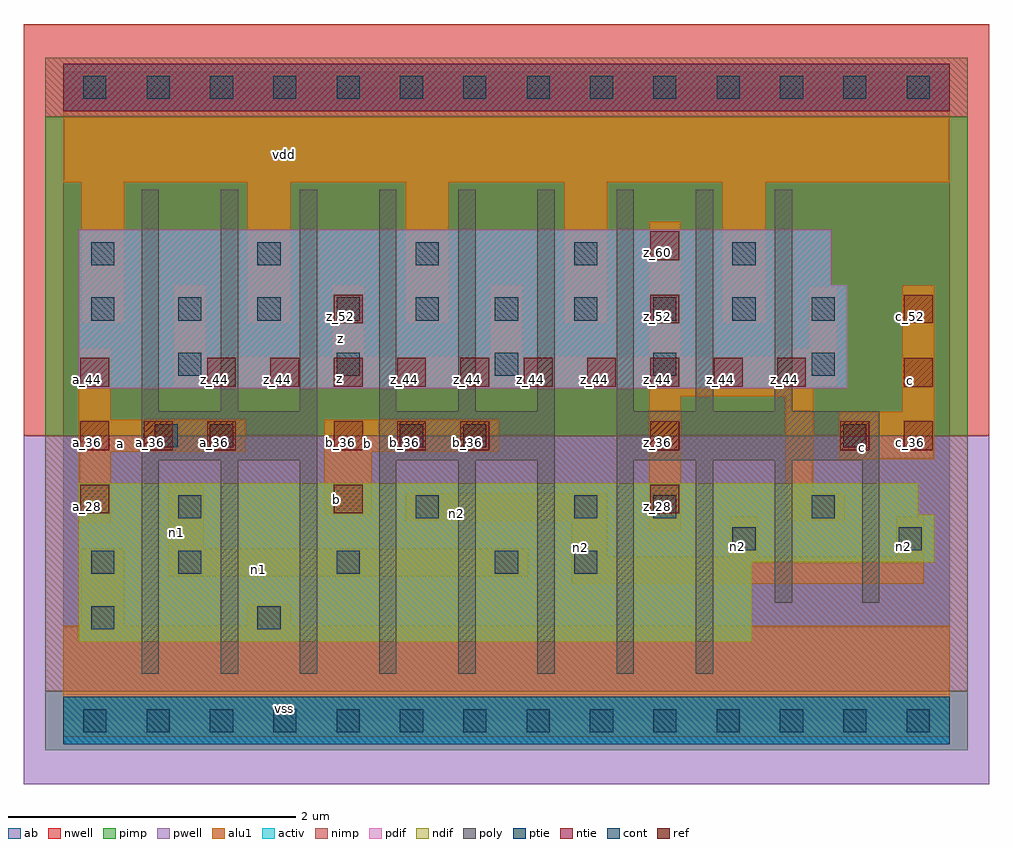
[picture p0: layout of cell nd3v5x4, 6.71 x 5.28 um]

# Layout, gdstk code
import gdstk
lib = gdstk.Library(unit=1e-6, precision=2.5e-09)
def R(c, l, rs):  # rectangles x0, y0, x1, y1
    for r in rs: c.add(gdstk.rectangle(r[:2], r[2:], *l))
def A(c, l, x, y, w, h, nx, ny, dx, dy):  # array of equal rectangles
    R(c, l, [(x+i*dx, y+j*dy, x+i*dx+w, y+j*dy+h) for i in range(nx) for j in range(ny)])
ndif = (3, 0)
pdif = (4, 0)
ntie = (5, 0)
ptie = (6, 0)
ref = (24, 0)
cont = (25, 0)
pwell = (41, 0)
nwell = (42, 0)
activ = (43, 0)
pimp = (44, 0)
nimp = (45, 0)
poly = (46, 0)
alu1 = (49, 0)
ab = (63, 0)

nd3v5x4 = lib.new_cell('nd3v5x4')
R(nd3v5x4, ndif, [(0.11,0.55,4.785,1.1), (0.11,1.1,6.05,1.43), (0.11,1.43,5.94,1.65)])
R(nd3v5x4, pdif, [(0.11,2.31,5.445,3.025), (0.11,3.025,5.335,3.41)])
R(nd3v5x4, ntie, [(0,4.235,6.16,4.565)])
R(nd3v5x4, ptie, [(0,-0.165,6.16,0.165)])
A(nd3v5x4, ref, 0.12, 1.88, 0.2, 0.2, 3, 1, 0.44, 0)
A(nd3v5x4, ref, 1.88, 1.88, 0.2, 0.2, 3, 1, 0.44, 0)
A(nd3v5x4, ref, 5.84, 1.88, 0.2, 0.2, 1, 3, 0, 0.44)
A(nd3v5x4, ref, 1, 2.32, 0.2, 0.2, 10, 1, 0.44, 0)
R(nd3v5x4, ref, [(0.12,1.44,0.32,1.64), (1.88,1.44,2.08,1.64), (4.08,1.44,4.28,1.64), (4.08,1.88,4.28,2.08), (5.4,1.88,5.6,2.08), (0.12,2.32,0.32,2.52), (1.88,2.76,2.08,2.96), (4.08,2.76,4.28,2.96), (4.08,3.2,4.28,3.4)])
A(nd3v5x4, cont, 0.14, -0.08, 0.16, 0.16, 14, 2, 0.44, 4.4)
A(nd3v5x4, cont, 0.8, 1.02, 0.16, 0.16, 3, 1, 1.1, 0)
A(nd3v5x4, cont, 0.8, 2.395, 0.16, 0.16, 5, 1, 1.1, 0)
A(nd3v5x4, cont, 0.8, 2.78, 0.16, 0.16, 9, 1, 0.55, 0)
A(nd3v5x4, cont, 1.35, 3.165, 0.16, 0.16, 4, 1, 1.1, 0)
R(nd3v5x4, cont, [(0.195,0.635,0.355,0.795), (1.35,0.635,1.51,0.795), (0.195,1.02,0.355,1.18), (3.55,1.02,3.71,1.18), (4.65,1.185,4.81,1.345), (5.805,1.185,5.965,1.345), (0.8,1.405,0.96,1.565), (2.45,1.405,2.61,1.565), (3.55,1.405,3.71,1.565), (4.1,1.405,4.26,1.565), (5.2,1.405,5.36,1.565), (0.635,1.9,0.795,2.06), (1.02,1.9,1.18,2.06), (2.34,1.9,2.5,2.06), (2.78,1.9,2.94,2.06), (5.42,1.9,5.58,2.06), (0.195,2.78,0.355,2.94), (0.195,3.165,0.355,3.325)])
R(nd3v5x4, pwell, [(-0.275,-0.44,6.435,1.98)])
R(nd3v5x4, nwell, [(-0.275,1.98,6.435,4.84)])
R(nd3v5x4, activ, [(0,-0.165,6.16,0.165), (0.11,0.55,4.785,1.1), (0.11,1.1,6.05,1.43), (0.11,1.43,5.94,1.65), (0.11,2.31,5.445,3.025), (0.11,3.025,5.335,3.41), (0,4.235,6.16,4.565)])
R(nd3v5x4, pimp, [(-0.125,-0.205,6.285,0.205), (-0.125,1.98,6.285,4.195)])
R(nd3v5x4, nimp, [(-0.125,0.205,6.285,1.98), (-0.125,4.195,6.285,4.605)])
A(nd3v5x4, poly, 0.545, 0.325, 0.12, 1.485, 8, 1, 0.55, 0)
A(nd3v5x4, poly, 0.545, 2.15, 0.12, 1.54, 9, 1, 0.55, 0)
R(nd3v5x4, poly, [(4.945,0.82,5.065,1.81), (5.55,0.82,5.67,1.81), (0.545,1.81,1.765,2.15), (2.195,1.81,3.415,2.15), (3.845,1.81,5.67,2.15)])
A(nd3v5x4, alu1, 0.77, 2.53, 0.22, 0.495, 3, 1, 1.1, 0)
A(nd3v5x4, alu1, 1.28, 2.765, 0.3, 0.975, 4, 1, 1.1, 0)
R(nd3v5x4, alu1, [(0,-0.11,6.16,0.66), (0.125,0.66,0.425,1.195), (1.28,0.66,1.58,0.81), (3.535,0.95,5.98,1.14), (0.73,1.005,3.23,1.195), (3.535,1.14,3.78,1.39), (4.635,1.14,4.825,1.415), (5.79,1.14,5.98,1.415), (0.73,1.195,0.975,1.635), (4.07,1.32,4.29,2.255), (0.11,1.375,0.33,1.87), (2.38,1.39,3.78,1.58), (5.02,1.39,5.43,1.58), (1.815,1.43,2.145,1.87), (5.02,1.58,5.21,2.255), (5.39,1.815,6.05,2.145), (0.11,1.87,1.265,2.09), (1.815,1.87,3.025,2.09), (0.11,2.09,0.33,2.585), (5.83,2.145,6.05,3.025), (4.07,2.255,5.21,2.31), (0.77,2.31,5.21,2.325), (0.77,2.325,5.375,2.53), (4.07,2.53,4.29,3.465), (4.95,2.53,5.375,2.585), (5.185,2.585,5.375,3.01), (0.125,2.765,0.425,3.74), (0,3.74,6.16,4.51)])
R(nd3v5x4, ab, [(0,0,6.16,4.4)])
nd3v5x4.add(gdstk.Label('vss', (1.54,0.0825), layer=49, texttype=0))
nd3v5x4.add(gdstk.Label('n2', (5.8375,1.2075), layer=49, texttype=0))
nd3v5x4.add(gdstk.Label('n2', (4.6825,1.2075), layer=49, texttype=0))
nd3v5x4.add(gdstk.Label('c', (5.555,1.8975), layer=49, texttype=0))
nd3v5x4.add(gdstk.Label('c', (5.885,2.365), layer=49, texttype=0))
nd3v5x4.add(gdstk.Label('n2', (3.595,1.2025), layer=49, texttype=0))
nd3v5x4.add(gdstk.Label('n1', (1.355,1.0525), layer=49, texttype=0))
nd3v5x4.add(gdstk.Label('n2', (2.73,1.4375), layer=49, texttype=0))
nd3v5x4.add(gdstk.Label('b', (1.8975,1.54), layer=49, texttype=0))
nd3v5x4.add(gdstk.Label('n1', (0.79,1.305), layer=49, texttype=0))
nd3v5x4.add(gdstk.Label('b', (2.1175,1.925), layer=49, texttype=0))
nd3v5x4.add(gdstk.Label('a', (0.3975,1.925), layer=49, texttype=0))
nd3v5x4.add(gdstk.Label('z', (1.92,2.375), layer=49, texttype=0))
nd3v5x4.add(gdstk.Label('z', (1.925,2.6525), layer=49, texttype=0))
nd3v5x4.add(gdstk.Label('vdd', (1.54,3.9325), layer=49, texttype=0))
nd3v5x4.add(gdstk.Label('z_60', (4.13,3.25), layer=24, texttype=0))
nd3v5x4.add(gdstk.Label('z_44', (5.01,2.37), layer=24, texttype=0))
nd3v5x4.add(gdstk.Label('z_44', (4.57,2.37), layer=24, texttype=0))
nd3v5x4.add(gdstk.Label('z_44', (1.93,2.37), layer=24, texttype=0))
nd3v5x4.add(gdstk.Label('z_44', (2.37,2.37), layer=24, texttype=0))
nd3v5x4.add(gdstk.Label('z_44', (2.81,2.37), layer=24, texttype=0))
nd3v5x4.add(gdstk.Label('b_28', (1.93,1.49), layer=24, texttype=0))
nd3v5x4.add(gdstk.Label('c_36', (5.45,1.93), layer=24, texttype=0))
nd3v5x4.add(gdstk.Label('c_44', (5.89,2.37), layer=24, texttype=0))
nd3v5x4.add(gdstk.Label('c_52', (5.89,2.81), layer=24, texttype=0))
nd3v5x4.add(gdstk.Label('c_36', (5.89,1.93), layer=24, texttype=0))
nd3v5x4.add(gdstk.Label('a_36', (0.61,1.93), layer=24, texttype=0))
nd3v5x4.add(gdstk.Label('z_52', (1.93,2.81), layer=24, texttype=0))
nd3v5x4.add(gdstk.Label('z_52', (4.13,2.81), layer=24, texttype=0))
nd3v5x4.add(gdstk.Label('a_28', (0.17,1.49), layer=24, texttype=0))
nd3v5x4.add(gdstk.Label('b_36', (1.93,1.93), layer=24, texttype=0))
nd3v5x4.add(gdstk.Label('b_36', (2.37,1.93), layer=24, texttype=0))
nd3v5x4.add(gdstk.Label('z_44', (1.05,2.37), layer=24, texttype=0))
nd3v5x4.add(gdstk.Label('z_44', (1.49,2.37), layer=24, texttype=0))
nd3v5x4.add(gdstk.Label('z_44', (3.25,2.37), layer=24, texttype=0))
nd3v5x4.add(gdstk.Label('z_44', (3.69,2.37), layer=24, texttype=0))
nd3v5x4.add(gdstk.Label('z_44', (4.13,2.37), layer=24, texttype=0))
nd3v5x4.add(gdstk.Label('z_36', (4.13,1.93), layer=24, texttype=0))
nd3v5x4.add(gdstk.Label('z_28', (4.13,1.49), layer=24, texttype=0))
nd3v5x4.add(gdstk.Label('a_36', (0.17,1.93), layer=24, texttype=0))
nd3v5x4.add(gdstk.Label('a_44', (0.17,2.37), layer=24, texttype=0))
nd3v5x4.add(gdstk.Label('a_36', (1.05,1.93), layer=24, texttype=0))
nd3v5x4.add(gdstk.Label('b_36', (2.81,1.93), layer=24, texttype=0))

lib.write_gds('nd3v5x4.gds')
